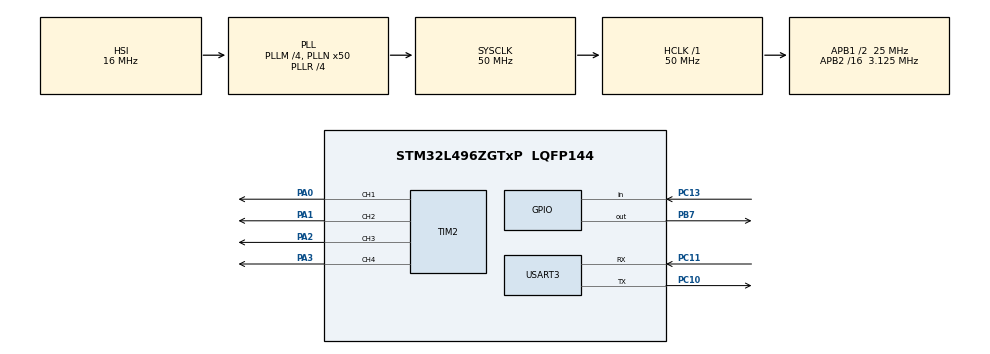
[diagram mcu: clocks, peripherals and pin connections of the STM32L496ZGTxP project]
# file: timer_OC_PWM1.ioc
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Mcu.Family=STM32L4
Mcu.Name=STM32L496ZGTxP
Mcu.Package=LQFP144
NVIC.PriorityGroup=NVIC_PRIORITYGROUP_4
NVIC.USART3_IRQn=true\:0\:0\:false\:false\:true\:true\:true\:true
PA0.Signal=S_TIM2_CH1
PA1.Signal=S_TIM2_CH2
PA2.Signal=S_TIM2_CH3
PA3.Signal=S_TIM2_CH4
PB7.Signal=GPIO_Output
PC10.Mode=Asynchronous
PC10.Signal=USART3_TX
PC11.Mode=Asynchronous
PC11.Signal=USART3_RX
PC13.Signal=GPIO_Input
ProjectManager.HeapSize=0x200
ProjectManager.StackSize=0x400
ProjectManager.TargetToolchain=STM32CubeIDE
RCC.48MHZClocksFreq_Value=24000000
RCC.ADCFreq_Value=40000000
RCC.AHBFreq_Value=50000000
RCC.APB1CLKDivider=RCC_HCLK_DIV2
RCC.APB1Freq_Value=25000000
RCC.APB1TimFreq_Value=50000000
RCC.APB2CLKDivider=RCC_HCLK_DIV16
RCC.APB2Freq_Value=3125000
RCC.APB2TimFreq_Value=6250000
RCC.CortexFreq_Value=50000000
RCC.HCLKFreq_Value=50000000
RCC.HSE_VALUE=8000000
RCC.HSI48_VALUE=48000000
RCC.HSI_VALUE=16000000
RCC.MSIClockRange=RCC_MSIRANGE_9
RCC.MSI_VALUE=24000000
RCC.PLLM=4
RCC.PLLMUL=RCC_PLL_MUL9
RCC.PLLN=50
RCC.PLLR=RCC_PLLR_DIV4
RCC.PLLSAI1N=20
RCC.PLLSourceVirtual=RCC_PLLSOURCE_HSI
RCC.PRESCALERUSB=RCC_USBCLKSOURCE_PLL_DIV1_5
RCC.SYSCLKFreq_VALUE=50000000
RCC.SYSCLKSource=RCC_SYSCLKSOURCE_PLLCLK
RCC.SYSCLKSourceVirtual=RCC_SYSCLKSOURCE_PLLCLK
RCC.USBFreq_Value=40000000
RCC.VCOOutputFreq_Value=200000000
SH.S_TIM2_CH1.0=TIM2_CH1,PWM Generation1 CH1
SH.S_TIM2_CH2.0=TIM2_CH2,PWM Generation2 CH2
SH.S_TIM2_CH3.0=TIM2_CH3,PWM Generation3 CH3
SH.S_TIM2_CH4.0=TIM2_CH4,Output Compare4 CH4
TIM2.Channel-Output\ Compare4\ CH4=TIM_CHANNEL_4
TIM2.Channel-PWM\ Generation1\ CH1=TIM_CHANNEL_1
TIM2.Channel-PWM\ Generation2\ CH2=TIM_CHANNEL_2
TIM2.Channel-PWM\ Generation3\ CH3=TIM_CHANNEL_3
USART3.VirtualMode-Asynchronous=VM_ASYNC
board=NUCLEO-L496ZG-P

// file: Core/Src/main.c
/* USER CODE BEGIN Header */
/**
  ******************************************************************************
  * @file           : main.c
  * @brief          : Main program body
  ******************************************************************************
  * @attention
  *
  * Copyright (c) 2023 STMicroelectronics.
  * All rights reserved.
  *
  * This software is licensed under terms that can be found in the LICENSE file
  * in the root directory of this software component.
  * If no LICENSE file comes with this software, it is provided AS-IS.
  *
  ******************************************************************************
  */
/* USER CODE END Header */
#include "main.h"

/* USER CODE BEGIN Includes */
#include<string.h>
#include<stdio.h>
/* USER CODE END Includes */

/* USER CODE BEGIN PM */
#define TRUE 1
#define FALSE 0
#define PWM_ON TRUE
#define PWM_OFF FALSE
/* USER CODE END PM */

TIM_HandleTypeDef htim2;

UART_HandleTypeDef huart3;

/* USER CODE BEGIN PV */
uint32_t pulse1_value = 25000; //to produce 500Hz
uint32_t pulse2_value = 12500; // to produce 1000Hz
uint32_t pulse3_value = 6250; // to produce 2000Hz
uint32_t pulse4_value = 3125; // to produce 4000Hz

/* USER CODE END PV */

void SystemClock_Config(void);
static void MX_GPIO_Init(void);
static void MX_TIM2_Init(void);
static void MX_USART3_UART_Init(void);

int main(void)
{
  /* USER CODE BEGIN 1 */
char msg[100];
uint8_t pwm = PWM_OFF;
  /* USER CODE END 1 */

  /* MCU Configuration--------------------------------------------------------*/

  /* Reset of all peripherals, Initializes the Flash interface and the Systick. */
  HAL_Init();

  /* Configure the system clock */
  SystemClock_Config();

  /* Initialize all configured peripherals */
  MX_GPIO_Init();
  MX_TIM2_Init();
  MX_USART3_UART_Init();
  /* USER CODE BEGIN 2 */

strcpy(msg,"\n\rApplication is Running");
HAL_UART_Transmit(&huart3, (uint8_t*)msg, strlen(msg), HAL_MAX_DELAY);
  /* USER CODE END 2 */

  /* Infinite loop */
  while (1)
  {

    /* USER CODE BEGIN 3 */

	  while( ! HAL_GPIO_ReadPin(GPIOC, GPIO_PIN_13));

	  if(pwm == PWM_OFF){
		  pwm = PWM_ON;
	  }else if(pwm == PWM_ON){
		  pwm = PWM_OFF;
	  }

	  HAL_Delay(200);

	  if(pwm==PWM_ON){
		  strcpy(msg,"\n\rPWM ON");
		  HAL_UART_Transmit(&huart3, (uint8_t*)msg, strlen(msg), HAL_MAX_DELAY);
		  HAL_GPIO_WritePin(GPIOB, GPIO_PIN_7, GPIO_PIN_SET);

		  if (HAL_TIM_PWM_Start(&htim2, TIM_CHANNEL_1) != HAL_OK){
			  Error_Handler();
		  }
		  if (HAL_TIM_PWM_Start(&htim2, TIM_CHANNEL_2) != HAL_OK){
				  Error_Handler();
		  }
		  if (HAL_TIM_PWM_Start(&htim2, TIM_CHANNEL_3) != HAL_OK){
				  Error_Handler();
		  }
		  if (HAL_TIM_PWM_Start(&htim2, TIM_CHANNEL_4) != HAL_OK){
				  Error_Handler();
		  }
	  }else{
		  strcpy(msg,"\n\rPWM OFF");
		  HAL_UART_Transmit(&huart3, (uint8_t*)msg, strlen(msg), HAL_MAX_DELAY);
		  HAL_GPIO_WritePin(GPIOB, GPIO_PIN_7, GPIO_PIN_RESET);
		  if (HAL_TIM_PWM_Stop(&htim2, TIM_CHANNEL_1) != HAL_OK){
			  Error_Handler();
		  }
		  if (HAL_TIM_PWM_Stop(&htim2, TIM_CHANNEL_2) != HAL_OK){
				  Error_Handler();
		  }
		  if (HAL_TIM_PWM_Stop(&htim2, TIM_CHANNEL_3) != HAL_OK){
				  Error_Handler();
		  }
		  if (HAL_TIM_PWM_Stop(&htim2, TIM_CHANNEL_4) != HAL_OK){
				  Error_Handler();
		  }
	  }

  }
  /* USER CODE END 3 */
}

void SystemClock_Config(void)
{
  RCC_OscInitTypeDef RCC_OscInitStruct = {0};
  RCC_ClkInitTypeDef RCC_ClkInitStruct = {0};

  /** Configure the main internal regulator output voltage
  */
  if (HAL_PWREx_ControlVoltageScaling(PWR_REGULATOR_VOLTAGE_SCALE1) != HAL_OK)
  {
    Error_Handler();
  }

  /** Initializes the RCC Oscillators according to the specified parameters
  * in the RCC_OscInitTypeDef structure.
  */
  RCC_OscInitStruct.OscillatorType = RCC_OSCILLATORTYPE_HSI;
  RCC_OscInitStruct.HSIState = RCC_HSI_ON;
  RCC_OscInitStruct.HSICalibrationValue = RCC_HSICALIBRATION_DEFAULT;
  RCC_OscInitStruct.PLL.PLLState = RCC_PLL_ON;
  RCC_OscInitStruct.PLL.PLLSource = RCC_PLLSOURCE_HSI;
  RCC_OscInitStruct.PLL.PLLM = 4;
  RCC_OscInitStruct.PLL.PLLN = 50;
  RCC_OscInitStruct.PLL.PLLP = RCC_PLLP_DIV2;
  RCC_OscInitStruct.PLL.PLLQ = RCC_PLLQ_DIV2;
  RCC_OscInitStruct.PLL.PLLR = RCC_PLLR_DIV4;
  if (HAL_RCC_OscConfig(&RCC_OscInitStruct) != HAL_OK)
  {
    Error_Handler();
  }

  /** Initializes the CPU, AHB and APB buses clocks
  */
  RCC_ClkInitStruct.ClockType = RCC_CLOCKTYPE_HCLK|RCC_CLOCKTYPE_SYSCLK
                              |RCC_CLOCKTYPE_PCLK1|RCC_CLOCKTYPE_PCLK2;
  RCC_ClkInitStruct.SYSCLKSource = RCC_SYSCLKSOURCE_PLLCLK;
  RCC_ClkInitStruct.AHBCLKDivider = RCC_SYSCLK_DIV1;
  RCC_ClkInitStruct.APB1CLKDivider = RCC_HCLK_DIV2;
  RCC_ClkInitStruct.APB2CLKDivider = RCC_HCLK_DIV16;

  if (HAL_RCC_ClockConfig(&RCC_ClkInitStruct, FLASH_LATENCY_3) != HAL_OK)
  {
    Error_Handler();
  }
}

static void MX_TIM2_Init(void)
{

  TIM_MasterConfigTypeDef sMasterConfig = {0};
  TIM_OC_InitTypeDef sConfigOC = {0};

  htim2.Instance = TIM2;
  htim2.Init.Prescaler = 4999;
  htim2.Init.CounterMode = TIM_COUNTERMODE_UP;
  htim2.Init.Period = 100-1;
  htim2.Init.ClockDivision = TIM_CLOCKDIVISION_DIV1;
  htim2.Init.AutoReloadPreload = TIM_AUTORELOAD_PRELOAD_DISABLE;
  if (HAL_TIM_PWM_Init(&htim2) != HAL_OK)
  {
    Error_Handler();
  }
  if (HAL_TIM_OC_Init(&htim2) != HAL_OK)
  {
    Error_Handler();
  }
  sMasterConfig.MasterOutputTrigger = TIM_TRGO_RESET;
  sMasterConfig.MasterSlaveMode = TIM_MASTERSLAVEMODE_DISABLE;
  if (HAL_TIMEx_MasterConfigSynchronization(&htim2, &sMasterConfig) != HAL_OK)
  {
    Error_Handler();
  }
  sConfigOC.OCMode = TIM_OCMODE_PWM1;
  sConfigOC.Pulse = (htim2.Init.Period * 25 ) / 100;
  sConfigOC.OCPolarity = TIM_OCPOLARITY_HIGH;
  sConfigOC.OCFastMode = TIM_OCFAST_DISABLE;
  if (HAL_TIM_PWM_ConfigChannel(&htim2, &sConfigOC, TIM_CHANNEL_1) != HAL_OK)
  {
    Error_Handler();
  }

  sConfigOC.Pulse = (htim2.Init.Period * 45 ) / 100;
  if (HAL_TIM_PWM_ConfigChannel(&htim2, &sConfigOC, TIM_CHANNEL_2) != HAL_OK)
  {
    Error_Handler();
  }

  sConfigOC.Pulse = (htim2.Init.Period * 75 ) / 100;
  if (HAL_TIM_PWM_ConfigChannel(&htim2, &sConfigOC, TIM_CHANNEL_3) != HAL_OK)
  {
    Error_Handler();
  }

  sConfigOC.Pulse = (htim2.Init.Period * 90 ) / 100;
  if (HAL_TIM_OC_ConfigChannel(&htim2, &sConfigOC, TIM_CHANNEL_4) != HAL_OK)
  {
    Error_Handler();
  }
  HAL_TIM_MspPostInit(&htim2);

}

static void MX_USART3_UART_Init(void)
{

  huart3.Instance = USART3;
  huart3.Init.BaudRate = 115200;
  huart3.Init.WordLength = UART_WORDLENGTH_8B;
  huart3.Init.StopBits = UART_STOPBITS_1;
  huart3.Init.Parity = UART_PARITY_NONE;
  huart3.Init.Mode = UART_MODE_TX_RX;
  huart3.Init.HwFlowCtl = UART_HWCONTROL_NONE;
  huart3.Init.OverSampling = UART_OVERSAMPLING_16;
  huart3.Init.OneBitSampling = UART_ONE_BIT_SAMPLE_DISABLE;
  huart3.AdvancedInit.AdvFeatureInit = UART_ADVFEATURE_NO_INIT;
  if (HAL_UART_Init(&huart3) != HAL_OK)
  {
    Error_Handler();
  }

}

static void MX_GPIO_Init(void)
{
  GPIO_InitTypeDef GPIO_InitStruct = {0};

  /* GPIO Ports Clock Enable */
  __HAL_RCC_GPIOC_CLK_ENABLE();
  __HAL_RCC_GPIOA_CLK_ENABLE();
  __HAL_RCC_GPIOB_CLK_ENABLE();

  /*Configure GPIO pin Output Level */
  HAL_GPIO_WritePin(GPIOB, GPIO_PIN_7, GPIO_PIN_RESET);

  /*Configure GPIO pin : PC13 */
  GPIO_InitStruct.Pin = GPIO_PIN_13;
  GPIO_InitStruct.Mode = GPIO_MODE_INPUT;
  GPIO_InitStruct.Pull = GPIO_NOPULL;
  HAL_GPIO_Init(GPIOC, &GPIO_InitStruct);

  /*Configure GPIO pin : PB7 */
  GPIO_InitStruct.Pin = GPIO_PIN_7;
  GPIO_InitStruct.Mode = GPIO_MODE_OUTPUT_PP;
  GPIO_InitStruct.Pull = GPIO_NOPULL;
  GPIO_InitStruct.Speed = GPIO_SPEED_FREQ_LOW;
  HAL_GPIO_Init(GPIOB, &GPIO_InitStruct);

}

/* USER CODE BEGIN 4 */

uint32_t ccr_content;
void HAL_TIM_OC_DelayElapsedCallback(TIM_HandleTypeDef *htim)
{
	/*TIM2_CH1 toggling with frequency = 500 Hz*/
	if(htim->Channel == HAL_TIM_ACTIVE_CHANNEL_1)
	{
		ccr_content = HAL_TIM_ReadCapturedValue(htim,TIM_CHANNEL_1);
		__HAL_TIM_SET_COMPARE(htim,TIM_CHANNEL_1,ccr_content+pulse1_value);
	}

	/*TIM2_CH1 toggling with frequency = 1000 Hz*/
	if(htim->Channel == HAL_TIM_ACTIVE_CHANNEL_2)
	{
		ccr_content = HAL_TIM_ReadCapturedValue(htim,TIM_CHANNEL_2);
		__HAL_TIM_SET_COMPARE(htim,TIM_CHANNEL_2,ccr_content+pulse2_value);
	}

	/*TIM2_CH1 toggling with frequency = 2000 Hz*/
	if(htim->Channel == HAL_TIM_ACTIVE_CHANNEL_3)
	{
		ccr_content = HAL_TIM_ReadCapturedValue(htim,TIM_CHANNEL_3);
		__HAL_TIM_SET_COMPARE(htim,TIM_CHANNEL_3,ccr_content+pulse3_value);
	}

	/*TIM2_CH1 toggling with frequency = 4000 Hz*/
	if(htim->Channel == HAL_TIM_ACTIVE_CHANNEL_4)
	{
		ccr_content = HAL_TIM_ReadCapturedValue(htim,TIM_CHANNEL_4);
		__HAL_TIM_SET_COMPARE(htim,TIM_CHANNEL_4,ccr_content+pulse4_value);
	}
}

/* USER CODE END 4 */

void Error_Handler(void)
{
  __disable_irq();
  while (1)
  {
  }
}
